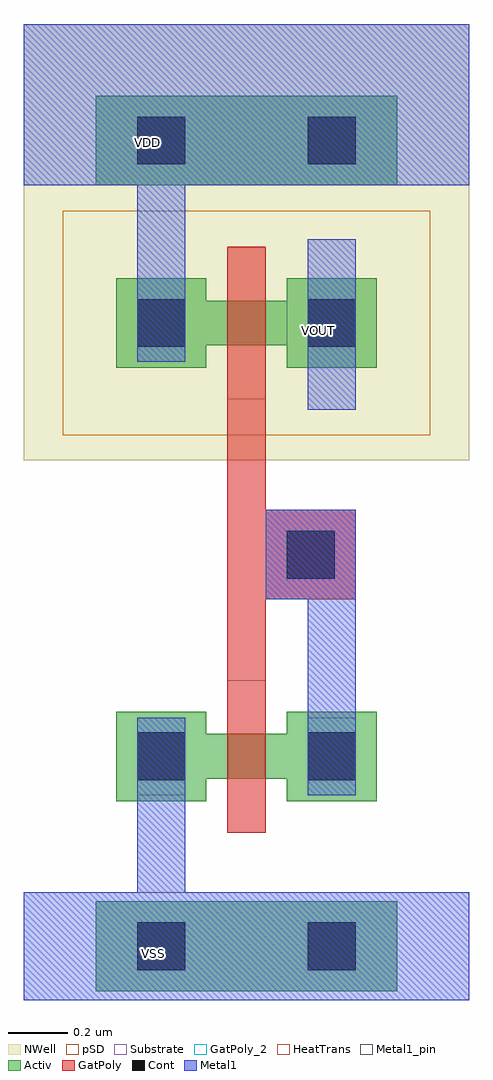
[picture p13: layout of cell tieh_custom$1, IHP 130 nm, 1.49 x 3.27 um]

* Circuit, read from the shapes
.subckt tieh_custom$1 VDD VOUT VSS
XM1 n1 n1 VSS VSS sg13_lv_nmos w=0.15u l=0.13u
XM2 VOUT n1 VDD VDD sg13_lv_pmos w=0.15u l=0.13u
.ends

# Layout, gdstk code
import gdstk
lib = gdstk.Library(unit=1e-6, precision=1e-09)
def R(c, l, rs):  # rectangles x0, y0, x1, y1
    for r in rs: c.add(gdstk.rectangle(r[:2], r[2:], *l))
Activ = (1, 0)
GatPoly = (5, 0)
GatPoly_2 = (5, 2)
Cont = (6, 0)
Metal1 = (8, 0)
Metal1_pin = (8, 2)
pSD = (14, 0)
NWell = (31, 0)
Substrate = (40, 0)
HeatTrans = (51, 0)

pmos_2_1 = lib.new_cell('pmos$2$1')
R(pmos_2_1, Activ, [(0,0,0.3,0.3), (0.57,0,0.87,0.3), (0,0.075,0.87,0.225)])
R(pmos_2_1, GatPoly, [(0.37,-0.105,0.5,0.405), (0.37,-0.105,0.5,0.405)])
R(pmos_2_1, Cont, [(0.07,0.07,0.23,0.23), (0.64,0.07,0.8,0.23)])
R(pmos_2_1, Metal1, [(0.07,0.02,0.23,0.28), (0.07,0.02,0.23,0.28), (0.64,0.02,0.8,0.28), (0.64,0.02,0.8,0.28)])
R(pmos_2_1, pSD, [(-0.18,-0.225,1.05,0.525)])
R(pmos_2_1, NWell, [(-0.31,-0.31,1.18,0.61)])
R(pmos_2_1, Substrate, [(0.57,0,0.87,0.3)])
R(pmos_2_1, HeatTrans, [(0.37,-0.105,0.5,0.405)])
pmos_2_1.add(gdstk.Label('pmos', (0.435,0.15), layer=63, texttype=0))
pmos_2_1.add(gdstk.Label('pmos', (0.435,0.15), layer=51, texttype=0))

nmos_7_2_1 = lib.new_cell('nmos$7$2$1')
R(nmos_7_2_1, Activ, [(0,0,0.3,0.3), (0.57,0,0.87,0.3), (0,0.075,0.87,0.225)])
R(nmos_7_2_1, GatPoly, [(0.37,-0.105,0.5,0.405)])
R(nmos_7_2_1, GatPoly_2, [(0.37,-0.105,0.5,0.405)])
R(nmos_7_2_1, Cont, [(0.07,0.07,0.23,0.23), (0.64,0.07,0.8,0.23)])
R(nmos_7_2_1, Metal1, [(0.07,0.02,0.23,0.28), (0.64,0.02,0.8,0.28)])
R(nmos_7_2_1, Metal1_pin, [(0.07,0.02,0.23,0.28), (0.64,0.02,0.8,0.28)])
R(nmos_7_2_1, HeatTrans, [(0.37,-0.105,0.5,0.405)])
nmos_7_2_1.add(gdstk.Label('nmos', (0.435,0.15), layer=63, texttype=0))
nmos_7_2_1.add(gdstk.Label('nmos', (0.435,0.15), layer=51, texttype=0))

tieh_custom_1 = lib.new_cell('tieh_custom$1')
R(tieh_custom_1, Activ, [(0.975,0.805,1.985,1.105), (0.975,0.805,1.985,1.105), (0.975,0.805,1.985,1.105), (0.975,0.805,1.985,1.105), (0.975,0.805,1.985,1.105), (0.975,3.5,1.985,3.8), (0.975,3.5,1.985,3.8), (0.975,3.5,1.985,3.8), (0.975,3.5,1.985,3.8), (0.975,3.5,1.985,3.8)])
R(tieh_custom_1, GatPoly, [(1.415,1.335,1.545,3.295), (1.415,1.335,1.545,3.295), (1.415,1.335,1.545,3.295), (1.415,1.335,1.545,3.295), (1.415,1.335,1.545,3.295), (1.545,2.115,1.845,2.415), (1.545,2.115,1.845,2.415), (1.545,2.115,1.845,2.415), (1.545,2.115,1.845,2.415), (1.545,2.115,1.845,2.415)])
R(tieh_custom_1, Cont, [(1.115,0.875,1.275,1.035), (1.115,0.875,1.275,1.035), (1.115,0.875,1.275,1.035), (1.115,0.875,1.275,1.035), (1.115,0.875,1.275,1.035), (1.685,0.875,1.845,1.035), (1.685,0.875,1.845,1.035), (1.685,0.875,1.845,1.035), (1.685,0.875,1.845,1.035), (1.685,0.875,1.845,1.035), (1.615,2.185,1.775,2.345), (1.615,2.185,1.775,2.345), (1.615,2.185,1.775,2.345), (1.615,2.185,1.775,2.345), (1.615,2.185,1.775,2.345), (1.115,3.57,1.275,3.73), (1.115,3.57,1.275,3.73), (1.115,3.57,1.275,3.73), (1.115,3.57,1.275,3.73), (1.115,3.57,1.275,3.73), (1.685,3.57,1.845,3.73), (1.685,3.57,1.845,3.73), (1.685,3.57,1.845,3.73), (1.685,3.57,1.845,3.73), (1.685,3.57,1.845,3.73)])
R(tieh_custom_1, Metal1, [(0.735,0.775,2.225,1.135), (0.735,0.775,2.225,1.135), (0.735,0.775,2.225,1.135), (0.735,0.775,2.225,1.135), (0.735,0.775,2.225,1.135), (1.115,0.805,1.275,1.72), (1.115,0.805,1.275,1.72), (1.115,0.805,1.275,1.72), (1.115,0.805,1.275,1.72), (1.115,0.805,1.275,1.72), (1.685,1.46,1.845,2.345), (1.685,1.46,1.845,2.345), (1.685,1.46,1.845,2.345), (1.685,1.46,1.845,2.345), (1.685,1.46,1.845,2.345), (1.545,2.115,1.845,2.415), (1.545,2.115,1.845,2.415), (1.545,2.115,1.845,2.415), (1.545,2.115,1.845,2.415), (1.545,2.115,1.845,2.415), (1.615,2.185,1.845,2.345), (1.615,2.185,1.845,2.345), (1.615,2.185,1.845,2.345), (1.615,2.185,1.845,2.345), (1.615,2.185,1.845,2.345), (1.685,2.75,1.845,3.32), (1.685,2.75,1.845,3.32), (1.685,2.75,1.845,3.32), (1.685,2.75,1.845,3.32), (1.685,2.75,1.845,3.32), (1.115,2.91,1.275,3.8), (1.115,2.91,1.275,3.8), (1.115,2.91,1.275,3.8), (1.115,2.91,1.275,3.8), (1.115,2.91,1.275,3.8), (0.735,3.5,2.225,4.04), (0.735,3.5,2.225,4.04), (0.735,3.5,2.225,4.04), (0.735,3.5,2.225,4.04), (0.735,3.5,2.225,4.04)])
R(tieh_custom_1, Metal1_pin, [(0.735,0.775,2.225,1.135), (0.735,0.775,2.225,1.135), (0.735,0.775,2.225,1.135), (0.735,0.775,2.225,1.135), (0.735,0.775,2.225,1.135), (1.545,2.115,1.845,2.415), (1.545,2.115,1.845,2.415), (1.545,2.115,1.845,2.415), (1.545,2.115,1.845,2.415), (1.545,2.115,1.845,2.415), (1.685,2.75,1.845,3.32), (1.685,2.75,1.845,3.32), (1.685,2.75,1.845,3.32), (1.685,2.75,1.845,3.32), (1.685,2.75,1.845,3.32), (0.735,3.5,2.225,4.04), (0.735,3.5,2.225,4.04), (0.735,3.5,2.225,4.04), (0.735,3.5,2.225,4.04), (0.735,3.5,2.225,4.04)])
R(tieh_custom_1, pSD, [(0.735,0.775,2.225,1.135), (0.735,0.775,2.225,1.135), (0.735,0.775,2.225,1.135), (0.735,0.775,2.225,1.135), (0.735,0.775,2.225,1.135)])
R(tieh_custom_1, NWell, [(0.735,3.5,2.225,4.04), (0.735,3.5,2.225,4.04), (0.735,3.5,2.225,4.04), (0.735,3.5,2.225,4.04), (0.735,3.5,2.225,4.04)])
tieh_custom_1.add(gdstk.Reference(pmos_2_1, (1.045,2.89)))
tieh_custom_1.add(gdstk.Reference(nmos_7_2_1, (1.045,1.44)))
tieh_custom_1.add(gdstk.Label('VSS', (1.17,0.93), layer=8, texttype=25))
tieh_custom_1.add(gdstk.Label('VDD', (1.15,3.645), layer=8, texttype=25))
tieh_custom_1.add(gdstk.Label('VOUT', (1.72,3.015), layer=8, texttype=25))
tieh_custom_1.add(gdstk.Label('VSS', (1.17,0.93), layer=8, texttype=25))
tieh_custom_1.add(gdstk.Label('VDD', (1.15,3.645), layer=8, texttype=25))
tieh_custom_1.add(gdstk.Label('VOUT', (1.72,3.015), layer=8, texttype=25))
tieh_custom_1.add(gdstk.Label('VSS', (1.17,0.93), layer=8, texttype=25))
tieh_custom_1.add(gdstk.Label('VDD', (1.15,3.645), layer=8, texttype=25))
tieh_custom_1.add(gdstk.Label('VOUT', (1.72,3.015), layer=8, texttype=25))
tieh_custom_1.add(gdstk.Label('VSS', (1.17,0.93), layer=8, texttype=25))
tieh_custom_1.add(gdstk.Label('VDD', (1.15,3.645), layer=8, texttype=25))
tieh_custom_1.add(gdstk.Label('VOUT', (1.72,3.015), layer=8, texttype=25))
tieh_custom_1.add(gdstk.Label('VSS', (1.17,0.93), layer=8, texttype=25))
tieh_custom_1.add(gdstk.Label('VDD', (1.15,3.645), layer=8, texttype=25))
tieh_custom_1.add(gdstk.Label('VOUT', (1.72,3.015), layer=8, texttype=25))

lib.write_gds('tieh_custom_1.gds')
